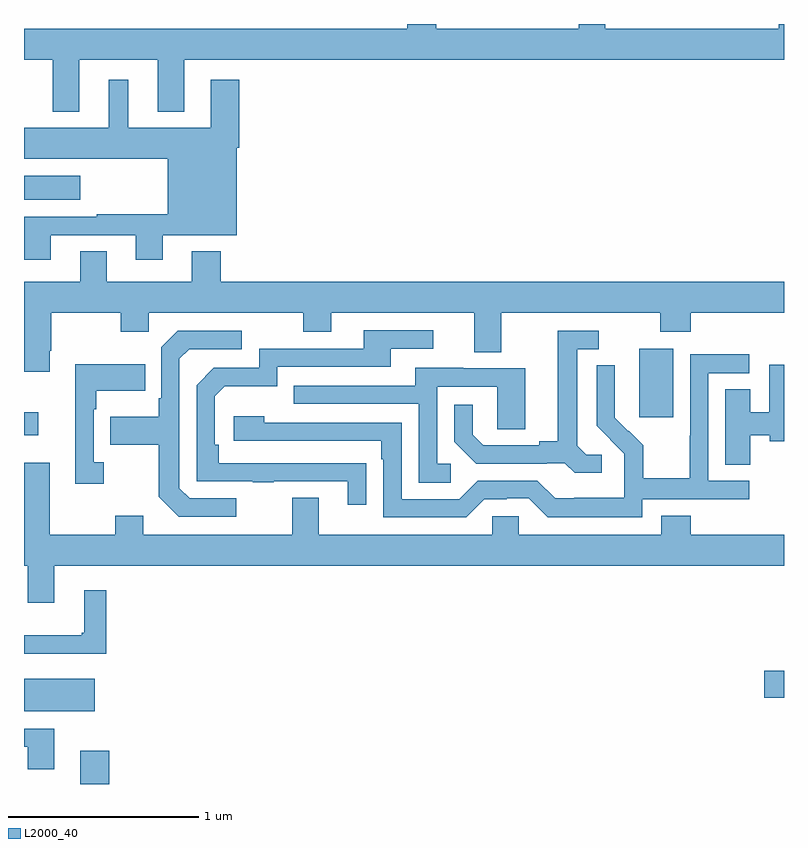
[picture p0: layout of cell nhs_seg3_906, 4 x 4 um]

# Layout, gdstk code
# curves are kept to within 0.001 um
import gdstk
lib = gdstk.Library(unit=1e-6, precision=1e-09)
def R(c, l, rs):  # rectangles x0, y0, x1, y1
    for r in rs: c.add(gdstk.rectangle(r[:2], r[2:], *l))
def P(c, l, *ps):  # polygons
    for p in ps: c.add(gdstk.Polygon(p, *l))
L2000_40 = (2000, 40)

nhs_seg3_906 = lib.new_cell('nhs_seg3_906')
R(nhs_seg3_906, L2000_40, [(157.295,734.4,157.448,734.575), (157,734.783,157.372,734.953), (160.896,734.854,161,734.996), (157,736.235,157.075,736.357), (160.238,736.329,160.417,736.69), (157,737.474,157.297,737.602)])
P(nhs_seg3_906, L2000_40, [(157.291,738.212),(157.703,738.212),(157.703,737.939),(157.843,737.939),(157.843,738.212),(161,738.212),(161,738.4),(160.973,738.4),(160.973,738.376),(160.059,738.376),(160.059,738.4),(159.921,738.4),(159.921,738.376),(159.169,738.376),(159.169,738.4),(159.017,738.4),(159.017,738.376),(157,738.376),(157,738.212),(157.151,738.212),(157.151,737.939),(157.291,737.939)],
  [(157.141,737.289),(157.589,737.289),(157.589,737.16),(157.729,737.16),(157.729,737.288),(158.119,737.288),(158.119,737.75),(158.132,737.75),(158.132,738.106),(157.982,738.106),(157.982,737.854),(157.549,737.854),(157.549,738.106),(157.445,738.106),(157.445,737.854),(157,737.854),(157,737.69),(157.757,737.69),(157.757,737.398),(157.384,737.398),(157.384,737.385),(157,737.385),(157,737.289),(157.001,737.289),(157.001,737.16),(157.141,737.16)],
  [(157.135,736.681),(157.143,736.681),(157.143,736.88),(157.51,736.88),(157.51,736.781),(157.656,736.781),(157.656,736.88),(158.47,736.88),(158.47,736.781),(158.617,736.781),(158.617,736.88),(159.371,736.88),(159.371,736.672),(159.511,736.672),(159.511,736.88),(160.348,736.88),(160.348,736.781),(160.508,736.781),(160.508,736.88),(161,736.88),(161,737.044),(158.036,737.044),(158.036,737.203),(157.883,737.203),(157.883,737.044),(157.435,737.044),(157.435,737.204),(157.295,737.204),(157.295,737.044),(157,737.044),(157,736.569),(157.135,736.569)],
  [(158.801,736.088),(158.024,736.089),(158.024,736.186),(158.004,736.186),(158.004,736.44),(158.057,736.493),(158.334,736.493),(158.334,736.596),(158.929,736.596),(158.929,736.692),(159.154,736.692),(159.154,736.788),(158.789,736.788),(158.789,736.692),(158.238,736.692),(158.238,736.59),(157.998,736.59),(157.908,736.5),(157.908,735.993),(158.203,735.993),(158.203,735.988),(158.315,735.988),(158.315,735.993),(158.705,735.993),(158.705,735.87),(158.801,735.87)],
  [(158.116,735.903),(157.872,735.903),(157.818,735.957),(157.818,736.638),(157.869,736.689),(158.146,736.689),(158.146,736.785),(157.809,736.785),(157.722,736.698),(157.722,736.429),(157.71,736.429),(157.71,736.333),(157.453,736.333),(157.453,736.186),(157.71,736.186),(157.71,735.913),(157.815,735.807),(158.116,735.807)],
  [(160.042,736.134),(159.96,736.134),(159.913,736.181),(159.913,736.689),(160.024,736.689),(160.024,736.785),(159.809,736.785),(159.809,736.205),(159.713,736.205),(159.713,736.182),(159.418,736.182),(159.361,736.239),(159.361,736.396),(159.264,736.396),(159.264,736.202),(159.38,736.086),(159.752,736.086),(159.752,736.089),(159.846,736.089),(159.898,736.037),(160.042,736.037)],
  [(160.254,735.9),(160.816,735.9),(160.816,735.996),(160.602,735.996),(160.602,736.563),(160.816,736.563),(160.816,736.662),(160.506,736.662),(160.506,736.232),(160.504,736.232),(160.504,736.009),(160.259,736.009),(160.259,736.183),(160.182,736.26),(160.179,736.257),(160.109,736.328),(160.11,736.604),(160.014,736.604),(160.014,736.286),(160.16,736.138),(160.16,736.041),(160.158,736.041),(160.158,735.907),(159.895,735.907),(159.895,735.903),(159.795,735.903),(159.702,735.996),(159.387,735.996),(159.291,735.9),(158.988,735.9),(158.988,736.302),(158.264,736.302),(158.264,736.336),(158.103,736.336),(158.103,736.206),(158.879,736.206),(158.879,736.109),(158.892,736.109),(158.892,735.804),(159.327,735.804),(159.423,735.9),(159.542,735.9),(159.542,735.903),(159.657,735.903),(159.757,735.803),(160.254,735.803)],
  [(157.42,736.094),(157.368,736.094),(157.368,736.373),(157.381,736.373),(157.381,736.469),(157.637,736.469),(157.637,736.609),(157.271,736.609),(157.271,735.981),(157.42,735.981)],
  [(160.822,736.235),(160.926,736.235),(160.926,736.205),(161,736.205),(161,736.606),(160.922,736.606),(160.922,736.357),(160.822,736.357),(160.822,736.478),(160.691,736.478),(160.691,736.081),(160.822,736.081)],
  [(159.247,736.086),(159.174,736.086),(159.174,736.491),(159.492,736.491),(159.492,736.267),(159.637,736.267),(159.637,736.587),(159.313,736.587),(159.313,736.591),(159.059,736.591),(159.059,736.497),(158.419,736.497),(158.419,736.401),(159.078,736.401),(159.078,735.985),(159.247,735.985)],
  [(157.159,735.548),(161,735.548),(161,735.712),(160.508,735.712),(160.508,735.811),(160.355,735.811),(160.355,735.712),(159.603,735.712),(159.603,735.81),(159.465,735.81),(159.465,735.712),(158.551,735.712),(158.551,735.907),(158.411,735.907),(158.411,735.712),(157.627,735.712),(157.627,735.811),(157.48,735.811),(157.48,735.712),(157.135,735.712),(157.135,736.09),(157,736.09),(157,735.548),(157.019,735.548),(157.019,735.354),(157.159,735.354)],
  [(157.433,735.421),(157.316,735.421),(157.316,735.196),(157.305,735.196),(157.305,735.184),(157,735.184),(157,735.086),(157.433,735.086)],
  [(157.159,734.691),(157,734.691),(157,734.595),(157.019,734.595),(157.019,734.478),(157.159,734.478)])

lib.write_gds('nhs_seg3_906.gds')
